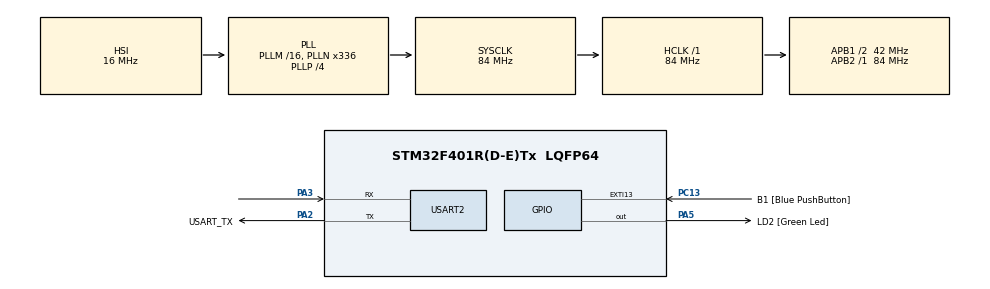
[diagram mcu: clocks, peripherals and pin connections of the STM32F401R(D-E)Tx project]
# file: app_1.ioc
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Mcu.Family=STM32F4
Mcu.Name=STM32F401R(D-E)Tx
Mcu.Package=LQFP64
NVIC.PriorityGroup=NVIC_PRIORITYGROUP_4
PA13.GPIO_Label=TMS
PA13.Mode=Serial_Wire
PA13.Signal=SYS_JTMS-SWDIO
PA14.GPIO_Label=TCK
PA14.Mode=Serial_Wire
PA14.Signal=SYS_JTCK-SWCLK
PA2.GPIO_Label=USART_TX
PA2.GPIO_Mode=GPIO_MODE_AF_PP
PA2.GPIO_PuPd=GPIO_NOPULL
PA2.GPIO_Speed=GPIO_SPEED_FREQ_LOW
PA2.Mode=Asynchronous
PA2.Signal=USART2_TX
PA3.Mode=Asynchronous
PA3.Signal=USART2_RX
PA5.GPIO_Label=LD2 [Green Led]
PA5.GPIO_Mode=GPIO_MODE_OUTPUT_PP
PA5.GPIO_PuPd=GPIO_NOPULL
PA5.GPIO_Speed=GPIO_SPEED_FREQ_LOW
PA5.Signal=GPIO_Output
PB3.GPIO_Label=SWO
PB3.Signal=SYS_JTDO-SWO
PC13-ANTI_TAMP.GPIO_Label=B1 [Blue PushButton]
PC13-ANTI_TAMP.GPIO_ModeDefaultEXTI=GPIO_MODE_IT_FALLING
PC13-ANTI_TAMP.GPIO_PuPd=GPIO_NOPULL
PC13-ANTI_TAMP.Signal=GPXTI13
PC14-OSC32_IN.Mode=LSE-External-Oscillator
PC14-OSC32_IN.Signal=RCC_OSC32_IN
PC15-OSC32_OUT.Mode=LSE-External-Oscillator
PC15-OSC32_OUT.Signal=RCC_OSC32_OUT
PH0\ -\ OSC_IN.Mode=HSE-External-Clock-Source
PH0\ -\ OSC_IN.Signal=RCC_OSC_IN
PH1\ -\ OSC_OUT.Mode=HSE-External-Clock-Source
PH1\ -\ OSC_OUT.Signal=RCC_OSC_OUT
ProjectManager.HeapSize=0x200
ProjectManager.StackSize=0x400
ProjectManager.TargetToolchain=STM32CubeIDE
RCC.48MHZClocksFreq_Value=48000000
RCC.AHBFreq_Value=84000000
RCC.APB1CLKDivider=RCC_HCLK_DIV2
RCC.APB1Freq_Value=42000000
RCC.APB1TimFreq_Value=84000000
RCC.APB2Freq_Value=84000000
RCC.APB2TimFreq_Value=84000000
RCC.CortexFreq_Value=84000000
RCC.HCLKFreq_Value=84000000
RCC.HSE_VALUE=8000000
RCC.HSI_VALUE=16000000
RCC.PLLN=336
RCC.PLLP=RCC_PLLP_DIV4
RCC.PLLQ=7
RCC.SYSCLKFreq_VALUE=84000000
RCC.SYSCLKSource=RCC_SYSCLKSOURCE_PLLCLK
RCC.VCOOutputFreq_Value=336000000
USART2.VirtualMode=VM_ASYNC
board=NUCLEO-F401RE

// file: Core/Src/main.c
/* USER CODE BEGIN Header */
/**
  ******************************************************************************
  * @file           : main.c
  * @brief          : Main program body
  ******************************************************************************
  * @attention
  *
  * Copyright (c) 2026 STMicroelectronics.
  * All rights reserved.
  *
  * This software is licensed under terms that can be found in the LICENSE file
  * in the root directory of this software component.
  * If no LICENSE file comes with this software, it is provided AS-IS.
  *
  ******************************************************************************
  */
/* USER CODE END Header */
#include "main.h"
#include <stdio.h>
#include "metadata_if.h"

UART_HandleTypeDef huart2;

void SystemClock_Config(void);
static void MX_GPIO_Init(void);
static void MX_USART2_UART_Init(void);

/* USER CODE BEGIN 0 */
/* USER CODE BEGIN 0 */

int __io_putchar(int ch)
{
    HAL_UART_Transmit(&huart2, (uint8_t *)&ch, 1, HAL_MAX_DELAY);
    return ch;
}
static void confirm_slot_a_boot(void)
{
    boot_metadata_t metadata;

    Metadata_Read(&metadata);

    if (!Metadata_IsValid(&metadata))
    {
        printf("APP1: Metadata invalid, cannot confirm boot\r\n");
        return;
    }

    if (metadata.active_slot == BOOT_SLOT_A &&
        metadata.slot_a_state == SLOT_STATE_PENDING_TEST)
    {
        printf("APP1: Slot A is pending test\r\n");
        printf("APP1: Confirming Slot A boot...\r\n");

        if (Metadata_MarkSlotAValid() == HAL_OK)
        {
            printf("APP1: Slot A marked VALID\r\n");
        }
        else
        {
            printf("APP1: Failed to mark Slot A VALID\r\n");
        }
    }
    else if (metadata.active_slot == BOOT_SLOT_A &&
             metadata.slot_a_state == SLOT_STATE_VALID)
    {
        printf("APP1: Slot A already VALID\r\n");
    }
    else
    {
        printf("APP1: No Slot A confirmation needed\r\n");
    }
}

/* USER CODE END 0 */
/* USER CODE END 0 */

int main(void)
{

  /* MCU Configuration--------------------------------------------------------*/

  /* Reset of all peripherals, Initializes the Flash interface and the Systick. */
  HAL_Init();

  /* Configure the system clock */
  SystemClock_Config();

  /* Initialize all configured peripherals */
  MX_GPIO_Init();
  MX_USART2_UART_Init();
  /* USER CODE BEGIN 2 */
  HAL_UART_Transmit(&huart2, (uint8_t*)"UART TEST\r\n", 11, HAL_MAX_DELAY);
  HAL_Delay(3000);
  confirm_slot_a_boot();
  /* USER CODE END 2 */

  /* Infinite loop */
  while (1)
  {
	HAL_GPIO_TogglePin(GPIOA, GPIO_PIN_5);
	HAL_UART_Transmit(&huart2, (uint8_t*)"HELLO\r\n", 7, HAL_MAX_DELAY);
	HAL_Delay(1000);
  }
}

void SystemClock_Config(void)
{
  RCC_OscInitTypeDef RCC_OscInitStruct = {0};
  RCC_ClkInitTypeDef RCC_ClkInitStruct = {0};

  /** Configure the main internal regulator output voltage
  */
  __HAL_RCC_PWR_CLK_ENABLE();
  __HAL_PWR_VOLTAGESCALING_CONFIG(PWR_REGULATOR_VOLTAGE_SCALE2);

  /** Initializes the RCC Oscillators according to the specified parameters
  * in the RCC_OscInitTypeDef structure.
  */
  RCC_OscInitStruct.OscillatorType = RCC_OSCILLATORTYPE_HSI;
  RCC_OscInitStruct.HSIState = RCC_HSI_ON;
  RCC_OscInitStruct.HSICalibrationValue = RCC_HSICALIBRATION_DEFAULT;
  RCC_OscInitStruct.PLL.PLLState = RCC_PLL_ON;
  RCC_OscInitStruct.PLL.PLLSource = RCC_PLLSOURCE_HSI;
  RCC_OscInitStruct.PLL.PLLM = 16;
  RCC_OscInitStruct.PLL.PLLN = 336;
  RCC_OscInitStruct.PLL.PLLP = RCC_PLLP_DIV4;
  RCC_OscInitStruct.PLL.PLLQ = 7;
  if (HAL_RCC_OscConfig(&RCC_OscInitStruct) != HAL_OK)
  {
    Error_Handler();
  }

  /** Initializes the CPU, AHB and APB buses clocks
  */
  RCC_ClkInitStruct.ClockType = RCC_CLOCKTYPE_HCLK|RCC_CLOCKTYPE_SYSCLK
                              |RCC_CLOCKTYPE_PCLK1|RCC_CLOCKTYPE_PCLK2;
  RCC_ClkInitStruct.SYSCLKSource = RCC_SYSCLKSOURCE_PLLCLK;
  RCC_ClkInitStruct.AHBCLKDivider = RCC_SYSCLK_DIV1;
  RCC_ClkInitStruct.APB1CLKDivider = RCC_HCLK_DIV2;
  RCC_ClkInitStruct.APB2CLKDivider = RCC_HCLK_DIV1;

  if (HAL_RCC_ClockConfig(&RCC_ClkInitStruct, FLASH_LATENCY_2) != HAL_OK)
  {
    Error_Handler();
  }
}

static void MX_USART2_UART_Init(void)
{

  huart2.Instance = USART2;
  huart2.Init.BaudRate = 115200;
  huart2.Init.WordLength = UART_WORDLENGTH_8B;
  huart2.Init.StopBits = UART_STOPBITS_1;
  huart2.Init.Parity = UART_PARITY_NONE;
  huart2.Init.Mode = UART_MODE_TX_RX;
  huart2.Init.HwFlowCtl = UART_HWCONTROL_NONE;
  huart2.Init.OverSampling = UART_OVERSAMPLING_16;
  if (HAL_UART_Init(&huart2) != HAL_OK)
  {
    Error_Handler();
  }

}

static void MX_GPIO_Init(void)
{
  GPIO_InitTypeDef GPIO_InitStruct = {0};

  /* GPIO Ports Clock Enable */
  __HAL_RCC_GPIOC_CLK_ENABLE();
  __HAL_RCC_GPIOH_CLK_ENABLE();
  __HAL_RCC_GPIOA_CLK_ENABLE();
  __HAL_RCC_GPIOB_CLK_ENABLE();

  /*Configure GPIO pin Output Level */
  HAL_GPIO_WritePin(LD2_GPIO_Port, LD2_Pin, GPIO_PIN_RESET);

  /*Configure GPIO pin : B1_Pin */
  GPIO_InitStruct.Pin = B1_Pin;
  GPIO_InitStruct.Mode = GPIO_MODE_IT_FALLING;
  GPIO_InitStruct.Pull = GPIO_NOPULL;
  HAL_GPIO_Init(B1_GPIO_Port, &GPIO_InitStruct);

  /*Configure GPIO pin : LD2_Pin */
  GPIO_InitStruct.Pin = LD2_Pin;
  GPIO_InitStruct.Mode = GPIO_MODE_OUTPUT_PP;
  GPIO_InitStruct.Pull = GPIO_NOPULL;
  GPIO_InitStruct.Speed = GPIO_SPEED_FREQ_LOW;
  HAL_GPIO_Init(LD2_GPIO_Port, &GPIO_InitStruct);

}

void Error_Handler(void)
{
  __disable_irq();
  while (1)
  {
  }
}
